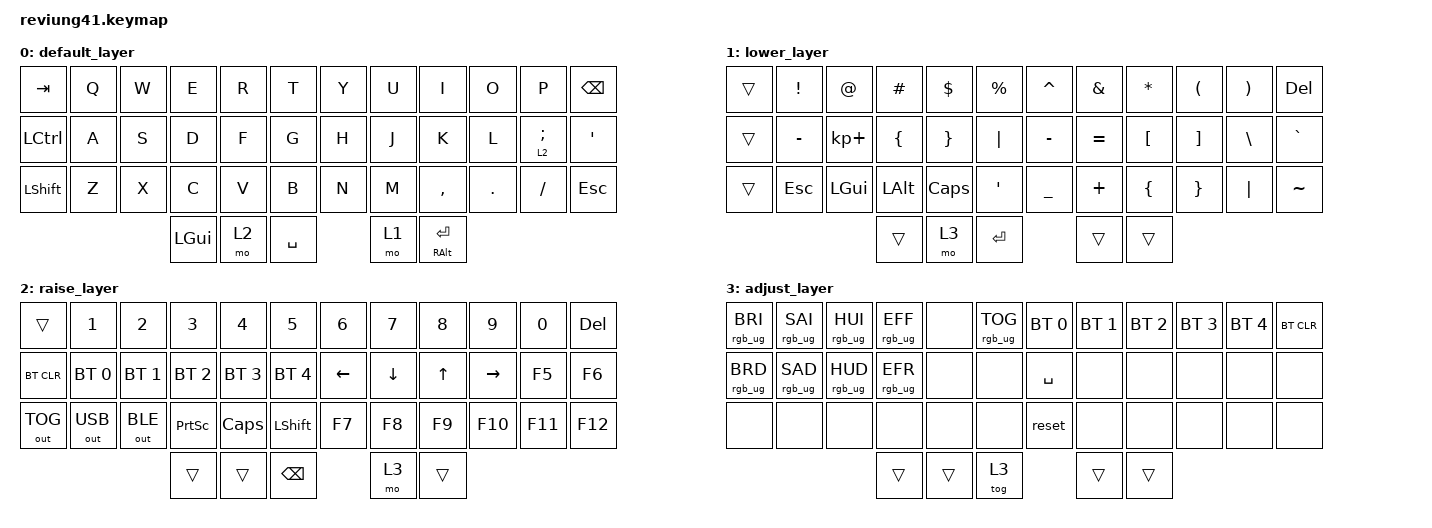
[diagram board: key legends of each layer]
/*
 * Copyright (c) 2020 The ZMK Contributors
 *
 * SPDX-License-Identifier: MIT
 */

#include <behaviors.dtsi>
#include <dt-bindings/zmk/keys.h>
#include <dt-bindings/zmk/bt.h>
#include <dt-bindings/zmk/rgb.h>
#include <dt-bindings/zmk/outputs.h>

/ {
        keymap {
                compatible = "zmk,keymap";

                default_layer {
// -------------------------------------------------------------------------------------
// |  TAB |  Q  |  W  |  E  |  R  |  T  |   |  Y  |  U   |  I  |  O  |  P  |   BKSP    |
// | CTRL |  A  |  S  |  D  |  F  |  G  |   |  H  |  J   |  K  |  L  |  ;  |    '      |
// | SHFT |  Z  |  X  |  C  |  V  |  B  |   |  N  |  M   |  ,  |  .  |  /  | SHFT(RET) |
//                         | ALT | LWR | SPC | RSE  | ALT |
                        bindings = <
   &kp TAB   &kp Q &kp W &kp E &kp R &kp T   &kp Y &kp U  &kp I     &kp O   &kp P      &kp BSPC
   &kp LCTRL &kp A &kp S &kp D &kp F &kp G   &kp H &kp J  &kp K     &kp L   &lt 2 SEMI &kp SQT
   &kp LSHFT &kp Z &kp X &kp C &kp V &kp B   &kp N &kp M  &kp COMMA &kp DOT &kp FSLH   &kp ESC
                        &kp LGUI  &mo 2 &kp SPACE &mo 1 &mt RALT RET
                        >;
                };

                lower_layer {
// ----------------------------------------------------------------------------------
// |    |  !  |  @  |  #  |  $  |  %  |   |  ^  |  &  |  *  |  (  |  )  |    DEL    |
// |    |  _  |  +  |  {  |  }  | "|" |   | LFT | DWN |  UP | RGT |  `  |     ~     |
// |    | ESC | GUI | ALT | CAPS|  "  |   | HOME| END | PGUP| PGDN| PRSC| SHFT(RET) |
//                       |     |     | RET | ADJ |     |
                        bindings = <
   &trans &kp EXCL  &kp AT      &kp HASH &kp DLLR &kp PRCNT      &kp CARET &kp AMPS  &kp ASTRK    &kp LPAR  &kp RPAR  &kp DEL
   &trans &kp MINUS &kp KP_PLUS &kp LBRC &kp RBRC &kp PIPE       &kp MINUS &kp EQUAL &kp LBKT  &kp RBKT  &kp BSLH  &kp GRAVE
   &trans &kp ESC   &kp LGUI    &kp LALT &kp CLCK &kp SQT        &kp UNDER &kp PLUS  &kp LBRC  &kp RBRC  &kp PIPE  &kp TILDE
                                 &trans      &mo 3       &kp RET        &trans       &trans
                        >;
                };

                raise_layer {
// -----------------------------------------------------------------------------------------
// |    |  1  |  2  |  3  |  4  |  5  |   |  6  |  7  |  8  |  9  |  0  | DEL |
// |    |  -  |  =  |  [  |  ]  |  \  |   | F1  | F2  | F3  | F4  | F5  | F6  |
// |    | ESC | GUI | ALT | CAPS|  "  |   | F7  | F8  | F9  | F10 | F11 | F12 |
//                       |     | ADJ | BKSP |    |     |
                        bindings = <
   &trans &kp N1    &kp N2    &kp N3    &kp N4    &kp N5        &kp N6    &kp N7    &kp N8    &kp N9    &kp N0    &kp DEL
   &bt BT_CLR &bt BT_SEL 0 &bt BT_SEL 1 &bt BT_SEL 2 &bt BT_SEL 3 &bt BT_SEL 4      &kp LEFT  &kp DOWN  &kp UP    &kp RIGHT &kp F5    &kp F6
   &out OUT_TOG &out OUT_USB   &out OUT_BLE  &kp PSCRN  &kp CLCK  &kp LSHFT       &kp F7    &kp F8    &kp F9    &kp F10   &kp F11   &kp F12
                                &trans      &trans       &kp BSPC        &mo 3      &trans
                        >;
                };

                adjust_layer {
// -----------------------------------------------------------------------------------------
// | RGB BRI+ | RGB SAT+ | RGB HUE+ | RGB ANI+ |    | RGB TOG |   |  BT1  | BT2 | BT3 | BT4 | BT5 | BT CLR |
// | RGB BRI- | RGB SAT- | RGB HUE- | RGB ANI+ |    |         |   |       |     |     |     |     |        |
// |          |          |          |          |    |         |   | RESET |     |     |     |     |        |
//                                              |     |     |     |     |     |
                        bindings = <
   &rgb_ug RGB_BRI &rgb_ug RGB_SAI &rgb_ug RGB_HUI &rgb_ug RGB_EFF &none &rgb_ug RGB_TOG    &bt BT_SEL 0 &bt BT_SEL 1 &bt BT_SEL 2 &bt BT_SEL 3 &bt BT_SEL 4 &bt BT_CLR
   &rgb_ug RGB_BRD &rgb_ug RGB_SAD &rgb_ug RGB_HUD &rgb_ug RGB_EFR &none &none              &kp SPACE        &none        &none        &none        &none        &none
   &none           &none           &none           &none           &none &none              &reset       &none        &none        &none        &none        &none
                                                             &trans      &trans       &tog 3        &trans      &trans
                        >;
                };
        };
};
